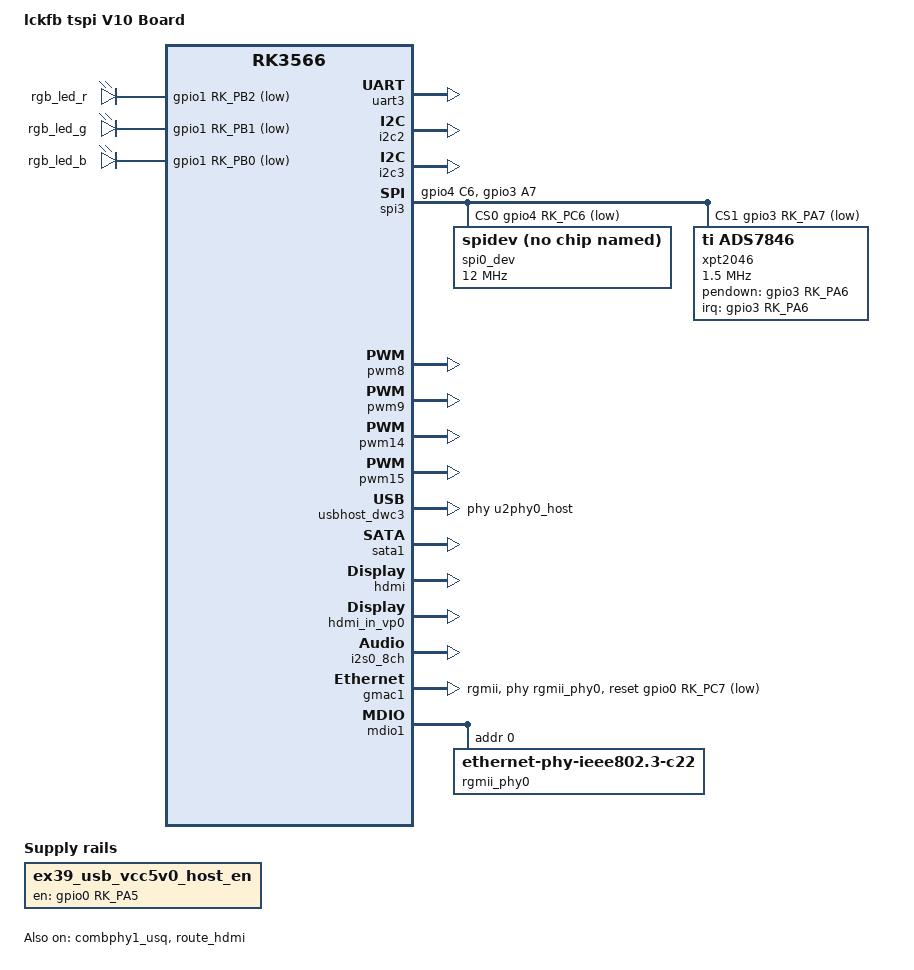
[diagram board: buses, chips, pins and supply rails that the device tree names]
// SPDX-License-Identifier: (GPL-2.0+ OR MIT)
/*
 * Copyright (c) 2020 Rockchip Electronics Co., Ltd.
 *
 */

/dts-v1/;

#include <dt-bindings/gpio/gpio.h>
#include <dt-bindings/display/media-bus-format.h>
#include <dt-bindings/pinctrl/rockchip.h>
#include "rk3566.dtsi"
#include <dt-bindings/display/rockchip_vop.h>
#include "rk3566-tspi-core.dtsi"

//【开/关】EDP 显示屏幕配置，用户可以基于此复制自己的屏幕，注意EDP与MIPI屏幕互斥，因为共用了VOP如果需要同显自行修改
// #include "tspi-rk3566-edp-v10.dtsi"

//【开/关】mipi 显示屏幕配置，用户可以基于此复制自己的屏幕，注意EDP与MIPI屏幕互斥，因为共用了VOP如果需要同显自行修改
// #include "tspi-rk3566-dsi-v10.dtsi"


//【开/关】摄像头 目前视频的是ov5659
// #include "rk3566-tspi-csi.dtsi"

/ {
	model = "lckfb tspi V10 Board";
	compatible = "lckfb,tspi-v10", "rockchip,rk3566";

	rk_headset: rk-headset {
		compatible = "rockchip_headset";
		headset_gpio = <&gpio0 RK_PC5 GPIO_ACTIVE_HIGH>;
		pinctrl-names = "default";
		pinctrl-0 = <&hp_det>;
	};

	leds: leds {
		compatible = "gpio-leds";
		rgb_led_r: rgb-led-r {
			gpios = <&gpio1 RK_PB2 GPIO_ACTIVE_LOW>;
			linux,default-trigger = "timer";
			linux,delay-reg = <0>;   		// 延时注册
			linux,blink-delay-on = <500>; 	// 打开时间
			linux,blink-delay-off = <500>;	// 关闭时间
		};
		rgb_led_g: rgb-led-g {
			gpios = <&gpio1 RK_PB1 GPIO_ACTIVE_LOW>;
			linux,default-trigger = "timer";
			linux,delay-reg = <100>;   		// 延时注册
			linux,blink-delay-on = <1000>; 
			linux,blink-delay-off = <1000>;
		};
		rgb_led_b: rgb-led-b {
			gpios = <&gpio1 RK_PB0 GPIO_ACTIVE_LOW>;
			linux,default-trigger = "timer";
			linux,delay-reg = <100>;  		// 延时注册
			linux,blink-delay-on = <1500>; 
			linux,blink-delay-off = <1500>;
		};
	};

	ex39-usb-vcc5v0-host-en {
		compatible = "regulator-fixed";
		enable-active-high;
		gpio = <&gpio0 RK_PA5 GPIO_ACTIVE_HIGH>;
		pinctrl-names = "default";
		pinctrl-0 = <&ex39_usb_vcc5v0_host_en>;
		regulator-name = "ex39_usb_vcc5v0_host_en";
		regulator-always-on;
	};

	hdmi_sound: hdmi-sound {
		compatible = "simple-audio-card";
		simple-audio-card,format = "i2s";
		simple-audio-card,mclk-fs = <128>;
		simple-audio-card,name = "rockchip,hdmi";
		status = "disabled";

		simple-audio-card,cpu {
				sound-dai = <&i2s0_8ch>;
		};
		simple-audio-card,codec {
				sound-dai = <&hdmi>;
		};
	};

};

&pinctrl {
	headphone {
		hp_det: hp-det {
			rockchip,pins = <0 RK_PC5 RK_FUNC_GPIO &pcfg_pull_none>;
		};
	};

	xpt2046-touchscreen {
		xpt2046_int_pin: xpt2046-int-pin {
			rockchip,pins = <3 RK_PA5 RK_FUNC_GPIO &pcfg_pull_none>;
		};
	};

	spi3 {
		spi3_cs0n: spi3-cs0n {
			rockchip,pins = <4 RK_PC6 RK_FUNC_GPIO &pcfg_pull_up_drv_level_2>;
		};

		spi3_cs1n: spi3-cs1n {
			rockchip,pins = <3 RK_PA7 RK_FUNC_GPIO &pcfg_pull_up_drv_level_2>;
		};
	};

	ex39_usb {
		ex39_usb_vcc5v0_host_en: ex39-usb-vcc5v0-host-en {
			rockchip,pins = <0 RK_PA5 RK_FUNC_GPIO &pcfg_pull_none>;
		};
	};
};

&leds {
	status = "okay";
};

&uart3 {
	status = "okay";
	pinctrl-names = "default";
	pinctrl-0 = <&uart3m1_xfer>;
};

&i2c2 {
	status = "okay";

	/*添加你的I2C设备参考
	gt1x: gt1x@14 {
		compatible = "goodix,gt1x";
		reg = <0x14>;
		pinctrl-names = "default";
		pinctrl-0 = <&touch_gpio>;
		goodix,rst-gpio = <&gpio0 RK_PB6 GPIO_ACTIVE_HIGH>;
		goodix,irq-gpio = <&gpio0 RK_PB5 IRQ_TYPE_LEVEL_LOW>;
	};*/
};

&i2c3 {
	status = "okay";
	pinctrl-names = "default";
	pinctrl-0 = <&i2c3m1_xfer>;
	/*添加你的I2C设备参考
	gt1x: gt1x@14 {
		compatible = "goodix,gt1x";
		reg = <0x14>;
		pinctrl-names = "default";
		pinctrl-0 = <&touch_gpio>;
		goodix,rst-gpio = <&gpio0 RK_PB6 GPIO_ACTIVE_HIGH>;
		goodix,irq-gpio = <&gpio0 RK_PB5 IRQ_TYPE_LEVEL_LOW>;
	};*/
};


&spi3 {
	status = "okay";
	max-freq = <48000000>;
	dma-names = "tx","rx";
	pinctrl-names = "default", "high_speed";
	pinctrl-0 = <&spi3_cs0n &spi3_cs1n &spi3m1_pins>;
	pinctrl-1 = <&spi3_cs0n &spi3_cs1n &spi3m1_pins_hs>;
	cs-gpios = <&gpio4 RK_PC6 GPIO_ACTIVE_LOW>, <&gpio3 RK_PA7 GPIO_ACTIVE_LOW>;
    
	spi0_dev@0 {
        compatible = "rockchip,spidev";
        reg = <0>;
        spi-max-frequency = <12000000>;
        spi-lsb-first;
		status = "okay";
    };

	xpt2046@1 {
		pinctrl-names = "default";
		pinctrl-0 = <&xpt2046_int_pin>;
		reg = <1>;
		compatible = "ti,ads7846";
		interrupt-parent = <&gpio3>;
		interrupts = <RK_PA6 0>;
		spi-max-frequency = <1500000>;
		pendown-gpio = <&gpio3 RK_PA6 0>;
		ti,x-min = /bits/ 16 <0>;
		ti,x-max = /bits/ 16 <0xfff>;
		ti,y-min = /bits/ 16 <0>;
		ti,y-max = /bits/ 16 <0xfff>;
		ti,x-plate-ohms = /bits/ 16 <180>;
		ti,pressure-max = /bits/ 16 <512>;
		ti,debounce-max = /bits/ 16 <10>;
		ti,debounce-tol = /bits/ 16 <30>;
		ti,debounce-rep = /bits/ 16 <1>;
		ti,settle-delay-usec = /bits/ 16 <150>;
		ti,keep-vref-on = <1>;
		/*
		 * Do not set to wakeup source,
		 * cause TL3568-EVM board will make xpt2046
		 * int pin level change when suspend, this
		 * will auto resume TL3568-EVM board.
		 */
		/delete-property/ linux,wakeup;
		/delete-property/ wakeup-source;
	};
};

&pwm8 {
	status = "okay";
};

&pwm9 {
	status = "okay";
};

&pwm14 {
	status = "okay";
};

//pwd 15遥控器
&pwm15 {
	status = "okay";
	compatible = "rockchip,remotectl-pwm";
	remote_pwm_id = <3>;
	handle_cpu_id = <1>;
	remote_support_psci = <0>;
	pinctrl-names = "default";
	pinctrl-0 = <&pwm15m0_pins>;

	//用户自定方法：adb设置输出日志并通过dmesg确定usercode=address与key_table=command
	//echo 1 > sys/module/rockchip_pwm_remotectl/parameters/code_print
	//键值可在 include/dt-bindings/input/linux-event-codes.h 中查找
	ir_key1 {
		rockchip,usercode = <0xff00>;
		rockchip,key_table =
			<0xf2	KEY_MENU>,
			<0xe9	KEY_BACK>,
			<0xe3	KEY_ENTER>,
			<0xe7	KEY_UP>,
			<0xad	KEY_DOWN>,
			<0xf7	KEY_LEFT>,
			<0xa5	KEY_RIGHT>,
			<0xba	KEY_1>,
			<0xb9	KEY_2>,
			<0xb8	KEY_3>,
			<0xbb	KEY_4>,
			<0xbf	KEY_5>,
			<0xbc	KEY_6>,
			<0xf8	KEY_7>,
			<0xea	KEY_8>,
			<0xf6	KEY_9>,
			<0xe6	KEY_0>;
	};
};

&usbhost_dwc3 {
	phys = <&u2phy0_host>; 
	phy-names = "usb2-phy";
	maximum-speed = "high-speed"; 
	status = "okay";
};
&combphy1_usq {
	rockchip,dis-u3otg1-port; 
	status = "okay";
};

&sata1 {
	rockchip,enable-ssc;
	status = "okay";
};

//耳机插入检测，不使用扩展板情况需关闭，否则默认会检测到耳机插入
&rk_headset {
	status = "disabled";
};

&hdmi {
	status = "okay";
	rockchip,phy-table =
		<92812500  0x8009 0x0000 0x0270>,
		<165000000 0x800b 0x0000 0x026d>,
		<185625000 0x800b 0x0000 0x01ed>,
		<297000000 0x800b 0x0000 0x01ad>,
		<594000000 0x8029 0x0000 0x0088>,
		<000000000 0x0000 0x0000 0x0000>;
};

&hdmi_in_vp0 {
	status = "okay";
};

&hdmi_in_vp1 {
	status = "disabled";
};

&hdmi_sound {
	status = "okay";
};

&i2s0_8ch {
	status = "okay";
};

&route_hdmi {
	status = "okay";
	connect = <&vp0_out_hdmi>;
};

&gmac1 {
	phy-mode = "rgmii";
	clock_in_out = "output";

	snps,reset-gpio = <&gpio0 RK_PC7 GPIO_ACTIVE_LOW>;
	snps,reset-active-low;
	/* Reset time is 20ms, 100ms for rtl8211f */
	snps,reset-delays-us = <0 20000 100000>;

	assigned-clocks = <&cru SCLK_GMAC1_RX_TX>, <&cru SCLK_GMAC1>;
	assigned-clock-parents = <&cru SCLK_GMAC1_RGMII_SPEED>, <&cru CLK_MAC1_2TOP>;
	assigned-clock-rates = <0>, <125000000>;

	pinctrl-names = "default";
	pinctrl-0 = <&gmac1m1_miim
		     &gmac1m1_tx_bus2
		     &gmac1m1_rx_bus2
		     &gmac1m1_rgmii_clk
		     &gmac1m1_rgmii_bus>;

	tx_delay = <0x4f>;
	rx_delay = <0x25>;

	phy-handle = <&rgmii_phy0>;
	status = "okay";
};

&mdio1 {
	rgmii_phy0: phy@0 {
		compatible = "ethernet-phy-ieee802.3-c22";
		reg = <0x0>;
	};
};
